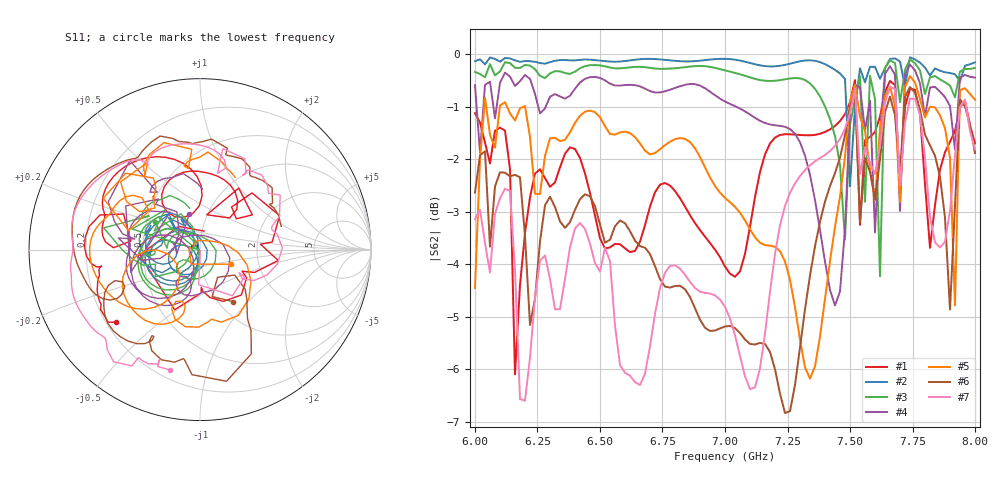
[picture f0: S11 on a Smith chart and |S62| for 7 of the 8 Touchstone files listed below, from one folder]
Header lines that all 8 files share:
! Touchstone file exported from HFSS 2020.1.0
!  File:  D:/Users/rblandin/Documents/Ansoft/scatterer_in_waveguide.aedt
!  Design:  HFSSDesign1
!  Project:  scatterer_in_waveguide
!  Setup:  scatmat
!  Solution:  Sweep
! Variables:
# GHZ S MA R 50.000000
! Terminal data exported
! Port[1] = 1:1
! Port[2] = 1:2
! Port[3] = 1:3
! Port[4] = 1:4
! Port[5] = 2:1
! Port[6] = 2:2
! Port[7] = 2:3
! Port[8] = 2:4
Fixed: $pos_x = 100mm, $pos_x_1 = 28.772922mm, $pos_x_2 = 55.98679mm, $pos_x_3 = 44.27246mm, $pos_y = 25mm, $pos_y_1 = 43.348048mm, $pos_y_2 = 48.8323mm, $pos_y_3 = 236.06804mm, $radius = 3.1mm
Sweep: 6 GHz to 8 GHz
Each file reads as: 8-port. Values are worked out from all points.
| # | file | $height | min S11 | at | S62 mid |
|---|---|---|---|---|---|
| 1 | scat_mat_HFSS.s8p | 8mm | -19.1 dB | 8 GHz | -4.0 dB at 7 GHz |
| 2 | scat_mat_HFSS_2mm.s8p | 2mm | -41.5 dB | 7.64 GHz | -0.1 dB at 7 GHz |
| 3 | scat_mat_HFSS_3mm.s8p | 3mm | -36.0 dB | 6.88 GHz | -0.3 dB at 7 GHz |
| 4 | scat_mat_HFSS_4mm.s8p | 4mm | -23.9 dB | 6.86 GHz | -0.9 dB at 7 GHz |
| 5 | scat_mat_HFSS_5mm.s8p | 5mm | -25.2 dB | 6.06 GHz | -2.7 dB at 7 GHz |
| 6 | scat_mat_HFSS_6mm.s8p | 6mm | -14.3 dB | 6.04 GHz | -5.2 dB at 7 GHz |
| 7 | scat_mat_HFSS_7mm.s8p | 7mm | -43.4 dB | 8 GHz | -4.8 dB at 7 GHz |
| 8 | scat_mat_HFSS_8mm.s8p | 8mm | -19.1 dB | 8 GHz | -4.0 dB at 7 GHz |
